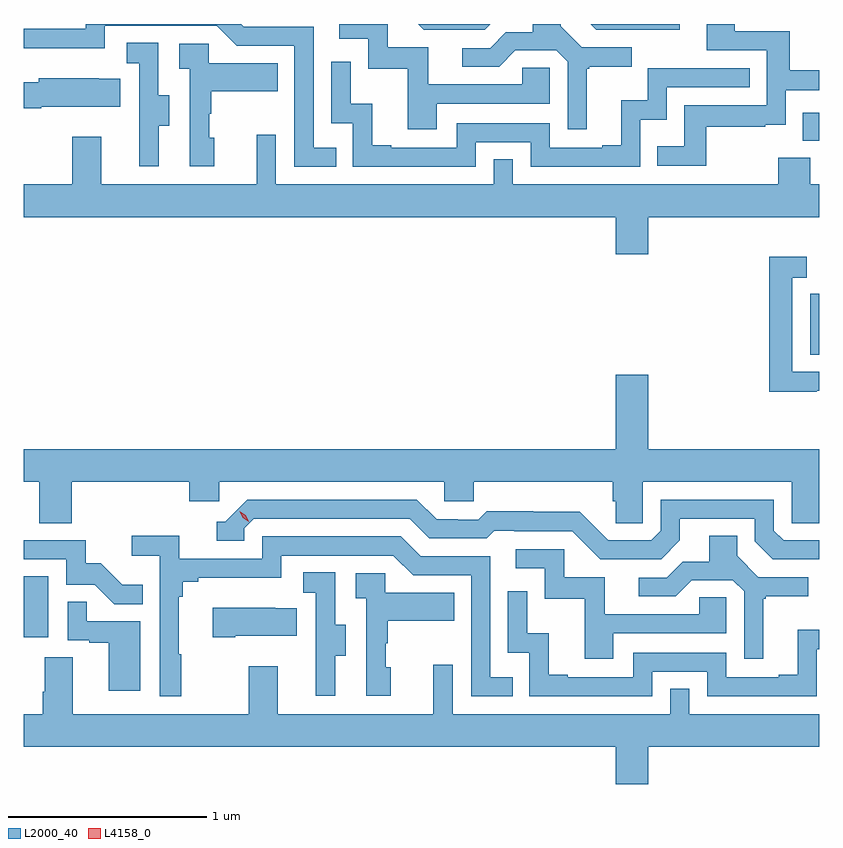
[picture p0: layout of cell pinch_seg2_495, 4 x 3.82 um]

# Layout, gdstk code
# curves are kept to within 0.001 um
import gdstk
lib = gdstk.Library(unit=1e-6, precision=1e-09)
def R(c, l, rs):  # rectangles x0, y0, x1, y1
    for r in rs: c.add(gdstk.rectangle(r[:2], r[2:], *l))
def P(c, l, *ps):  # polygons
    for p in ps: c.add(gdstk.Polygon(p, *l))
L2000_40 = (2000, 40)
L4158_0 = (4158, 0)

pinch_seg2_495 = lib.new_cell('pinch_seg2_495')
R(pinch_seg2_495, L2000_40, [(953.239,596.238,953.362,596.545), (957.194,597.66,957.239,597.967), (957.157,598.736,957.239,598.876)])
P(pinch_seg2_495, L2000_40, [(954.809,598.701),(954.696,598.701),(954.696,599.31),(954.346,599.31),(954.333,599.323),(953.55,599.323),(953.55,599.298),(953.239,599.298),(953.239,599.201),(953.646,599.201),(953.646,599.313),(954.21,599.313),(954.309,599.214),(954.6,599.214),(954.6,598.605),(954.809,598.605)],
  [(956.671,598.806),(956.969,598.806),(956.969,598.817),(957.072,598.817),(957.072,598.989),(957.239,598.989),(957.239,599.09),(957.092,599.09),(957.092,599.286),(956.815,599.286),(956.815,599.323),(956.675,599.323),(956.675,599.19),(956.976,599.19),(956.976,598.914),(956.56,598.914),(956.56,598.708),(956.425,598.708),(956.425,598.611),(956.671,598.611)],
  [(956.539,599.323),(956.09,599.323),(956.118,599.295),(956.334,599.295),(956.334,599.294),(956.539,599.294)],
  [(955.585,599.323),(955.223,599.323),(955.251,599.295),(955.557,599.295)],
  [(956.071,599.097),(956.083,599.097),(956.083,599.108),(956.296,599.108),(956.296,599.205),(956.046,599.205),(955.939,599.312),(955.939,599.323),(955.799,599.323),(955.799,599.282),(955.664,599.282),(955.584,599.202),(955.443,599.202),(955.443,599.109),(955.63,599.109),(955.711,599.19),(955.917,599.19),(955.974,599.133),(955.974,598.794),(956.071,598.794)],
  [(955.315,598.923),(955.884,598.923),(955.884,599.103),(955.747,599.103),(955.747,599.019),(955.273,599.019),(955.273,599.205),(955.068,599.205),(955.068,599.323),(954.825,599.323),(954.825,599.25),(954.972,599.25),(954.972,599.097),(955.171,599.097),(955.171,598.794),(955.315,598.794)],
  [(953.917,598.81),(953.971,598.81),(953.971,598.965),(953.916,598.965),(953.916,599.228),(953.757,599.228),(953.757,599.125),(953.82,599.125),(953.82,598.821),(953.819,598.821),(953.819,598.608),(953.917,598.608)],
  [(954.196,598.752),(954.171,598.752),(954.171,598.871),(954.181,598.871),(954.181,598.985),(954.515,598.985),(954.515,599.125),(954.168,599.125),(954.168,599.223),(954.021,599.223),(954.021,599.099),(954.072,599.099),(954.072,598.608),(954.196,598.608)],
  [(955.512,598.728),(955.788,598.728),(955.788,598.605),(956.34,598.605),(956.34,598.841),(956.472,598.841),(956.472,599.004),(956.891,599.004),(956.891,599.1),(956.376,599.1),(956.376,598.939),(956.243,598.939),(956.243,598.714),(956.147,598.714),(956.147,598.701),(955.884,598.701),(955.884,598.824),(955.416,598.824),(955.416,598.701),(955.087,598.701),(955.087,598.714),(954.992,598.714),(954.992,598.922),(954.882,598.922),(954.882,599.134),(954.786,599.134),(954.786,598.824),(954.894,598.824),(954.894,598.605),(955.512,598.605)],
  [(953.326,598.907),(953.723,598.907),(953.723,599.047),(953.615,599.047),(953.615,599.05),(953.313,599.05),(953.313,599.029),(953.239,599.029),(953.239,598.9),(953.326,598.9)],
  [(956.38,598.352),(957.239,598.352),(957.239,598.516),(957.194,598.516),(957.194,598.651),(957.034,598.651),(957.034,598.516),(955.698,598.516),(955.698,598.643),(955.602,598.643),(955.602,598.516),(954.507,598.516),(954.507,598.765),(954.41,598.765),(954.41,598.516),(953.629,598.516),(953.629,598.756),(953.482,598.756),(953.482,598.516),(953.239,598.516),(953.239,598.352),(956.216,598.352),(956.216,598.164),(956.38,598.164)],
  [(957.227,597.477),(957.239,597.477),(957.239,597.573),(957.105,597.573),(957.105,598.047),(957.178,598.047),(957.178,598.153),(956.989,598.153),(956.989,597.472),(957.227,597.472)],
  [(953.48,597.02),(954.071,597.02),(954.071,596.922),(954.222,596.922),(954.222,597.02),(955.353,597.02),(955.353,596.922),(955.503,596.922),(955.503,597.02),(956.201,597.02),(956.201,596.922),(956.215,596.922),(956.215,596.812),(956.352,596.812),(956.352,597.02),(957.102,597.02),(957.102,596.812),(957.239,596.812),(957.239,597.184),(956.38,597.184),(956.38,597.559),(956.216,597.559),(956.216,597.184),(953.239,597.184),(953.239,597.02),(953.315,597.02),(953.315,596.812),(953.48,596.812)],
  [(957.239,596.727),(957.06,596.727),(957.012,596.775),(957.012,596.931),(956.442,596.931),(956.442,596.775),(956.394,596.727),(956.178,596.727),(956.036,596.869),(955.8,596.869),(955.8,596.872),(955.567,596.872),(955.525,596.829),(955.422,596.829),(955.422,596.832),(955.315,596.832),(955.216,596.931),(954.363,596.931),(954.252,596.82),(954.209,596.82),(954.209,596.724),(954.348,596.724),(954.348,596.787),(954.396,596.835),(955.179,596.835),(955.278,596.736),(955.567,596.736),(955.606,596.775),(955.705,596.775),(955.705,596.772),(955.998,596.772),(956.139,596.631),(956.445,596.631),(956.539,596.725),(956.539,596.835),(956.916,596.835),(956.916,596.721),(957.006,596.631),(957.239,596.63)],
  [(954.031,596.153),(954.019,596.153),(954.019,596.441),(954.038,596.441),(954.038,596.518),(954.115,596.518),(954.115,596.537),(954.534,596.537),(954.534,596.649),(955.098,596.649),(955.197,596.55),(955.488,596.55),(955.488,595.941),(955.697,595.941),(955.697,596.037),(955.584,596.037),(955.584,596.646),(955.234,596.646),(955.135,596.745),(954.438,596.745),(954.438,596.634),(954.02,596.634),(954.02,596.75),(953.781,596.75),(953.781,596.648),(953.922,596.648),(953.922,595.941),(954.031,595.941)],
  [(956.959,596.433),(956.971,596.433),(956.971,596.444),(957.184,596.444),(957.184,596.541),(956.934,596.541),(956.827,596.648),(956.827,596.75),(956.687,596.75),(956.687,596.618),(956.552,596.618),(956.472,596.538),(956.331,596.538),(956.331,596.445),(956.518,596.445),(956.599,596.526),(956.805,596.526),(956.862,596.469),(956.862,596.13),(956.959,596.13)],
  [(953.837,596.503),(953.733,596.503),(953.626,596.61),(953.55,596.61),(953.55,596.727),(953.239,596.727),(953.239,596.631),(953.451,596.631),(953.451,596.502),(953.595,596.502),(953.693,596.404),(953.837,596.404)],
  [(956.203,596.259),(956.772,596.259),(956.772,596.439),(956.635,596.439),(956.635,596.355),(956.161,596.355),(956.161,596.541),(955.956,596.541),(955.956,596.682),(955.713,596.682),(955.713,596.586),(955.86,596.586),(955.86,596.433),(956.059,596.433),(956.059,596.13),(956.203,596.13)],
  [(954.805,596.146),(954.859,596.146),(954.859,596.301),(954.804,596.301),(954.804,596.564),(954.645,596.564),(954.645,596.461),(954.708,596.461),(954.708,596.157),(954.707,596.157),(954.707,595.944),(954.805,595.944)],
  [(955.084,596.088),(955.059,596.088),(955.059,596.207),(955.069,596.207),(955.069,596.321),(955.403,596.321),(955.403,596.461),(955.056,596.461),(955.056,596.559),(954.909,596.559),(954.909,596.435),(954.96,596.435),(954.96,595.944),(955.084,595.944)],
  [(956.4,596.064),(956.676,596.064),(956.676,595.941),(957.228,595.941),(957.228,596.177),(957.239,596.177),(957.239,596.275),(957.131,596.275),(957.131,596.05),(957.035,596.05),(957.035,596.037),(956.772,596.037),(956.772,596.16),(956.304,596.16),(956.304,596.037),(955.975,596.037),(955.975,596.05),(955.88,596.05),(955.88,596.258),(955.77,596.258),(955.77,596.47),(955.674,596.47),(955.674,596.16),(955.782,596.16),(955.782,595.941),(956.4,595.941)],
  [(953.824,596.319),(953.555,596.319),(953.555,596.417),(953.46,596.417),(953.46,596.223),(953.567,596.223),(953.567,596.211),(953.666,596.211),(953.666,595.968),(953.824,595.968)],
  [(954.301,596.246),(954.611,596.246),(954.611,596.383),(954.503,596.383),(954.503,596.386),(954.189,596.386),(954.189,596.239),(954.301,596.239)],
  [(956.38,595.688),(957.239,595.688),(957.239,595.852),(956.586,595.852),(956.586,595.979),(956.49,595.979),(956.49,595.852),(955.395,595.852),(955.395,596.101),(955.298,596.101),(955.298,595.852),(954.517,595.852),(954.517,596.092),(954.37,596.092),(954.37,595.852),(953.485,595.852),(953.485,596.138),(953.345,596.138),(953.345,595.964),(953.333,595.964),(953.333,595.852),(953.239,595.852),(953.239,595.688),(956.216,595.688),(956.216,595.5),(956.38,595.5)])
P(pinch_seg2_495, L4158_0, [(954.371,596.82),(954.34,596.84),(954.324,596.872),(954.324,596.873),(954.324,596.873),(954.355,596.853),(954.371,596.82),(954.371,596.82)])

lib.write_gds('pinch_seg2_495.gds')
